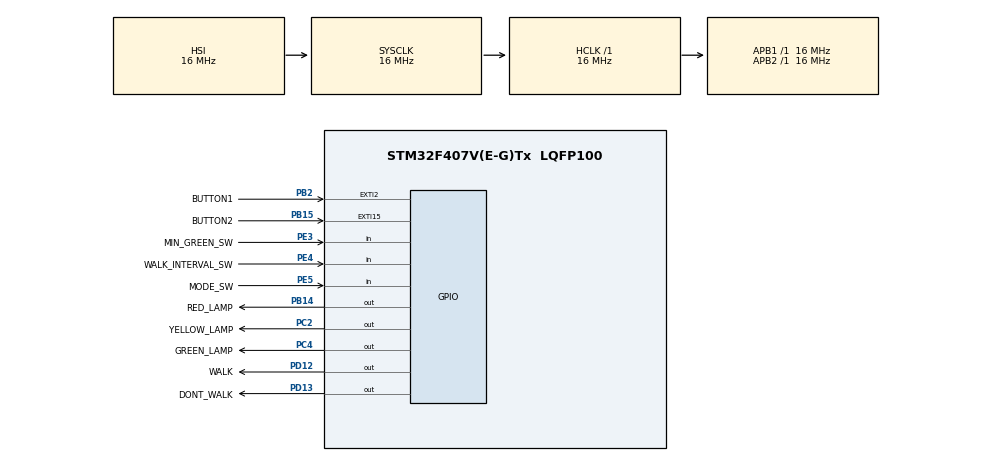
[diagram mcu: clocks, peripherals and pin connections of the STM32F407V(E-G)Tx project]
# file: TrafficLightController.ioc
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Mcu.Family=STM32F4
Mcu.Name=STM32F407V(E-G)Tx
Mcu.Package=LQFP100
NVIC.EXTI15_10_IRQn=true\:0\:0\:false\:false\:true\:true\:true
NVIC.EXTI2_IRQn=true\:0\:0\:false\:false\:true\:true\:true
NVIC.PriorityGroup=NVIC_PRIORITYGROUP_4
PA13.Mode=Serial_Wire
PA13.Signal=SYS_JTMS-SWDIO
PA14.Mode=Serial_Wire
PA14.Signal=SYS_JTCK-SWCLK
PB14.GPIO_Label=RED_LAMP
PB14.Signal=GPIO_Output
PB15.GPIO_Label=BUTTON2
PB15.Signal=GPXTI15
PB2.GPIO_Label=BUTTON1
PB2.GPIO_ModeDefaultEXTI=GPIO_MODE_IT_FALLING
PB2.Signal=GPXTI2
PC2.GPIO_Label=YELLOW_LAMP
PC2.Signal=GPIO_Output
PC4.GPIO_Label=GREEN_LAMP
PC4.Signal=GPIO_Output
PD12.GPIO_Label=WALK
PD12.Signal=GPIO_Output
PD13.GPIO_Label=DONT_WALK
PD13.Signal=GPIO_Output
PE3.GPIO_Label=MIN_GREEN_SW
PE3.Signal=GPIO_Input
PE4.GPIO_Label=WALK_INTERVAL_SW
PE4.Signal=GPIO_Input
PE5.GPIO_Label=MODE_SW
PE5.Signal=GPIO_Input
ProjectManager.HeapSize=0x200
ProjectManager.StackSize=0x400
ProjectManager.TargetToolchain=MDK-ARM V5
RCC.AHBFreq_Value=16000000
RCC.APB1Freq_Value=16000000
RCC.APB2Freq_Value=16000000
RCC.CortexFreq_Value=16000000
RCC.HSE_VALUE=25000000
RCC.HSI_VALUE=16000000
RCC.LSE_VALUE=32768
RCC.SYSCLKFreq_VALUE=16000000
RCC.VCOOutputFreq_Value=192000000
board=custom

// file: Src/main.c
/* USER CODE BEGIN Header */
/**
  ******************************************************************************
  * @file           : main.c
  * @brief          : Main program body
  ******************************************************************************
  * @attention
  *
  * <h2><center>&copy; Copyright (c) 2019 STMicroelectronics.
  * All rights reserved.</center></h2>
  *
  * This software component is licensed by ST under BSD 3-Clause license,
  * the "License"; You may not use this file except in compliance with the
  * License. You may obtain a copy of the License at:
  *                        opensource.org/licenses/BSD-3-Clause
  *
  ******************************************************************************
  */
/* USER CODE END Header */

#include "main.h"

/* USER CODE BEGIN Includes */
#include <stdio.h>
#include "bsp.h"
#include "ctrler.h"
#include "timer.h"

/* USER CODE END Includes */

void SystemClock_Config(void);
static void MX_GPIO_Init(void);

/* USER CODE BEGIN 0 */
int fputc(int ch, FILE *f)
{
		return ITM_SendChar(ch);
}

Event_t Event_Detect()
{
	Event_t evt = NO_EVT;
	if (Timeout_Status){
		evt = TIMEOUT;
		Timeout_Status = 0;
	}
	if(Button_Status){
		evt = BUTTON;
		Button_Status = 0;
	}
	if(MODE_READ()){
		evt = MODE_CHANGE;
	}
	return evt;
}
/* USER CODE END 0 */

int main(void)
{

  /* MCU Configuration--------------------------------------------------------*/

  /* Reset of all peripherals, Initializes the Flash interface and the Systick. */
  HAL_Init();

  /* Configure the system clock */
  SystemClock_Config();

  /* Initialize all configured peripherals */
  MX_GPIO_Init();

  /* Infinite loop */
  while (1)
  {

    /* USER CODE BEGIN 3 */
		Event_t evt = Event_Detect();
		uint32_t timeout_value = Ctrler_Exec(evt);
		Timeout_Config(timeout_value);
		MIN_GREEN_TIME = GREEN_TIME_READ() ? 600: 1200;
		WALK_INTERVAL = WALK_READ() ? 100: 200;
		Delay(1);

  }
  /* USER CODE END 3 */
}

void SystemClock_Config(void)
{
  RCC_OscInitTypeDef RCC_OscInitStruct = {0};
  RCC_ClkInitTypeDef RCC_ClkInitStruct = {0};

  /** Configure the main internal regulator output voltage
  */
  __HAL_RCC_PWR_CLK_ENABLE();
  __HAL_PWR_VOLTAGESCALING_CONFIG(PWR_REGULATOR_VOLTAGE_SCALE1);
  /** Initializes the CPU, AHB and APB busses clocks
  */
  RCC_OscInitStruct.OscillatorType = RCC_OSCILLATORTYPE_HSI;
  RCC_OscInitStruct.HSIState = RCC_HSI_ON;
  RCC_OscInitStruct.HSICalibrationValue = RCC_HSICALIBRATION_DEFAULT;
  RCC_OscInitStruct.PLL.PLLState = RCC_PLL_NONE;
  if (HAL_RCC_OscConfig(&RCC_OscInitStruct) != HAL_OK)
  {
    Error_Handler();
  }
  /** Initializes the CPU, AHB and APB busses clocks
  */
  RCC_ClkInitStruct.ClockType = RCC_CLOCKTYPE_HCLK|RCC_CLOCKTYPE_SYSCLK
                              |RCC_CLOCKTYPE_PCLK1|RCC_CLOCKTYPE_PCLK2;
  RCC_ClkInitStruct.SYSCLKSource = RCC_SYSCLKSOURCE_HSI;
  RCC_ClkInitStruct.AHBCLKDivider = RCC_SYSCLK_DIV1;
  RCC_ClkInitStruct.APB1CLKDivider = RCC_HCLK_DIV1;
  RCC_ClkInitStruct.APB2CLKDivider = RCC_HCLK_DIV1;

  if (HAL_RCC_ClockConfig(&RCC_ClkInitStruct, FLASH_LATENCY_0) != HAL_OK)
  {
    Error_Handler();
  }
}

static void MX_GPIO_Init(void)
{
  GPIO_InitTypeDef GPIO_InitStruct = {0};

  /* GPIO Ports Clock Enable */
  __HAL_RCC_GPIOE_CLK_ENABLE();
  __HAL_RCC_GPIOC_CLK_ENABLE();
  __HAL_RCC_GPIOB_CLK_ENABLE();
  __HAL_RCC_GPIOD_CLK_ENABLE();
  __HAL_RCC_GPIOA_CLK_ENABLE();

  /*Configure GPIO pin Output Level */
  HAL_GPIO_WritePin(GPIOC, YELLOW_LAMP_Pin|GREEN_LAMP_Pin, GPIO_PIN_RESET);

  /*Configure GPIO pin Output Level */
  HAL_GPIO_WritePin(RED_LAMP_GPIO_Port, RED_LAMP_Pin, GPIO_PIN_RESET);

  /*Configure GPIO pin Output Level */
  HAL_GPIO_WritePin(GPIOD, WALK_Pin|DONT_WALK_Pin, GPIO_PIN_RESET);

  /*Configure GPIO pins : MIN_GREEN_SW_Pin WALK_INTERVAL_SW_Pin MODE_SW_Pin */
  GPIO_InitStruct.Pin = MIN_GREEN_SW_Pin|WALK_INTERVAL_SW_Pin|MODE_SW_Pin;
  GPIO_InitStruct.Mode = GPIO_MODE_INPUT;
  GPIO_InitStruct.Pull = GPIO_NOPULL;
  HAL_GPIO_Init(GPIOE, &GPIO_InitStruct);

  /*Configure GPIO pins : YELLOW_LAMP_Pin GREEN_LAMP_Pin */
  GPIO_InitStruct.Pin = YELLOW_LAMP_Pin|GREEN_LAMP_Pin;
  GPIO_InitStruct.Mode = GPIO_MODE_OUTPUT_PP;
  GPIO_InitStruct.Pull = GPIO_NOPULL;
  GPIO_InitStruct.Speed = GPIO_SPEED_FREQ_LOW;
  HAL_GPIO_Init(GPIOC, &GPIO_InitStruct);

  /*Configure GPIO pin : BUTTON1_Pin */
  GPIO_InitStruct.Pin = BUTTON1_Pin;
  GPIO_InitStruct.Mode = GPIO_MODE_IT_FALLING;
  GPIO_InitStruct.Pull = GPIO_NOPULL;
  HAL_GPIO_Init(BUTTON1_GPIO_Port, &GPIO_InitStruct);

  /*Configure GPIO pin : RED_LAMP_Pin */
  GPIO_InitStruct.Pin = RED_LAMP_Pin;
  GPIO_InitStruct.Mode = GPIO_MODE_OUTPUT_PP;
  GPIO_InitStruct.Pull = GPIO_NOPULL;
  GPIO_InitStruct.Speed = GPIO_SPEED_FREQ_LOW;
  HAL_GPIO_Init(RED_LAMP_GPIO_Port, &GPIO_InitStruct);

  /*Configure GPIO pin : BUTTON2_Pin */
  GPIO_InitStruct.Pin = BUTTON2_Pin;
  GPIO_InitStruct.Mode = GPIO_MODE_IT_RISING;
  GPIO_InitStruct.Pull = GPIO_NOPULL;
  HAL_GPIO_Init(BUTTON2_GPIO_Port, &GPIO_InitStruct);

  /*Configure GPIO pins : WALK_Pin DONT_WALK_Pin */
  GPIO_InitStruct.Pin = WALK_Pin|DONT_WALK_Pin;
  GPIO_InitStruct.Mode = GPIO_MODE_OUTPUT_PP;
  GPIO_InitStruct.Pull = GPIO_NOPULL;
  GPIO_InitStruct.Speed = GPIO_SPEED_FREQ_LOW;
  HAL_GPIO_Init(GPIOD, &GPIO_InitStruct);

  /* EXTI interrupt init*/
  HAL_NVIC_SetPriority(EXTI2_IRQn, 0, 0);
  HAL_NVIC_EnableIRQ(EXTI2_IRQn);

  HAL_NVIC_SetPriority(EXTI15_10_IRQn, 0, 0);
  HAL_NVIC_EnableIRQ(EXTI15_10_IRQn);

}

void Error_Handler(void)
{
}

/************************ (C) COPYRIGHT STMicroelectronics *****END OF FILE****/
